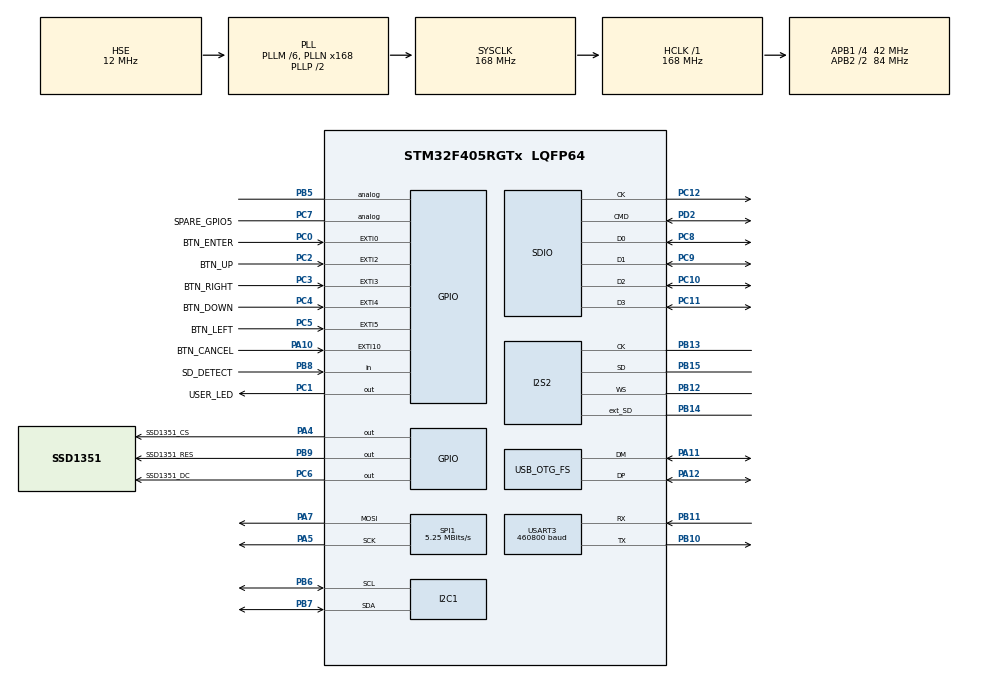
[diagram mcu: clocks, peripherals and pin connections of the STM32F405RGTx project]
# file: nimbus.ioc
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Dma.Request0=SPI2_TX
Dma.Request1=SPI1_TX
Dma.Request2=SDIO
Dma.Request3=USART3_TX
Dma.SDIO.2.Direction=DMA_PERIPH_TO_MEMORY
Dma.SDIO.2.FIFOMode=DMA_FIFOMODE_ENABLE
Dma.SDIO.2.FIFOThreshold=DMA_FIFO_THRESHOLD_FULL
Dma.SDIO.2.Instance=DMA2_Stream3
Dma.SDIO.2.MemBurst=DMA_MBURST_INC4
Dma.SDIO.2.MemDataAlignment=DMA_MDATAALIGN_WORD
Dma.SDIO.2.MemInc=DMA_MINC_ENABLE
Dma.SDIO.2.Mode=DMA_PFCTRL
Dma.SDIO.2.PeriphBurst=DMA_PBURST_INC4
Dma.SDIO.2.PeriphDataAlignment=DMA_PDATAALIGN_WORD
Dma.SDIO.2.PeriphInc=DMA_PINC_DISABLE
Dma.SDIO.2.Priority=DMA_PRIORITY_LOW
Dma.SPI1_TX.1.Direction=DMA_MEMORY_TO_PERIPH
Dma.SPI1_TX.1.FIFOMode=DMA_FIFOMODE_DISABLE
Dma.SPI1_TX.1.Instance=DMA2_Stream5
Dma.SPI1_TX.1.MemDataAlignment=DMA_MDATAALIGN_BYTE
Dma.SPI1_TX.1.MemInc=DMA_MINC_ENABLE
Dma.SPI1_TX.1.Mode=DMA_NORMAL
Dma.SPI1_TX.1.PeriphDataAlignment=DMA_PDATAALIGN_BYTE
Dma.SPI1_TX.1.PeriphInc=DMA_PINC_DISABLE
Dma.SPI1_TX.1.Priority=DMA_PRIORITY_LOW
Dma.SPI2_TX.0.Direction=DMA_MEMORY_TO_PERIPH
Dma.SPI2_TX.0.FIFOMode=DMA_FIFOMODE_DISABLE
Dma.SPI2_TX.0.Instance=DMA1_Stream4
Dma.SPI2_TX.0.MemDataAlignment=DMA_MDATAALIGN_WORD
Dma.SPI2_TX.0.MemInc=DMA_MINC_ENABLE
Dma.SPI2_TX.0.Mode=DMA_NORMAL
Dma.SPI2_TX.0.PeriphDataAlignment=DMA_PDATAALIGN_WORD
Dma.SPI2_TX.0.PeriphInc=DMA_PINC_DISABLE
Dma.SPI2_TX.0.Priority=DMA_PRIORITY_LOW
Dma.USART3_TX.3.Direction=DMA_MEMORY_TO_PERIPH
Dma.USART3_TX.3.FIFOMode=DMA_FIFOMODE_DISABLE
Dma.USART3_TX.3.Instance=DMA1_Stream3
Dma.USART3_TX.3.MemDataAlignment=DMA_MDATAALIGN_BYTE
Dma.USART3_TX.3.MemInc=DMA_MINC_ENABLE
Dma.USART3_TX.3.Mode=DMA_NORMAL
Dma.USART3_TX.3.PeriphDataAlignment=DMA_PDATAALIGN_BYTE
Dma.USART3_TX.3.PeriphInc=DMA_PINC_DISABLE
Dma.USART3_TX.3.Priority=DMA_PRIORITY_LOW
FATFS.BSP.number=1
FATFS.USE_DMA_CODE_SD=1
FATFS0.BSP.STBoard=false
FATFS0.BSP.api=Unknown
FATFS0.BSP.instance=PB8
FATFS0.BSP.ip=GPIO
FATFS0.BSP.mode=Input
FATFS0.BSP.name=Detect_SDIO
FATFS0.BSP.solution=PB8
I2S2.ErrorAudioFreq=0.15 %
I2S2.FullDuplexMode=I2S_FULLDUPLEXMODE_ENABLE
I2S2.Instance=SPI$Index
I2S2.RealAudioFreq=8.012 KHz
I2S2.VirtualMode=I2S_MODE_MASTER
Mcu.Family=STM32F4
Mcu.Name=STM32F405RGTx
Mcu.Package=LQFP64
NVIC.DMA1_Stream3_IRQn=true\:0\:0\:false\:false\:true\:false\:true\:true
NVIC.DMA1_Stream4_IRQn=true\:0\:0\:false\:false\:true\:false\:true\:true
NVIC.DMA2_Stream3_IRQn=true\:0\:0\:false\:false\:true\:false\:true\:true
NVIC.DMA2_Stream5_IRQn=true\:0\:0\:false\:false\:true\:false\:true\:true
NVIC.OTG_FS_IRQn=true\:0\:0\:false\:false\:true\:false\:true\:true
NVIC.PriorityGroup=NVIC_PRIORITYGROUP_4
NVIC.SDIO_IRQn=true\:0\:0\:false\:false\:true\:true\:true\:true
NVIC.USART3_IRQn=true\:0\:0\:false\:false\:true\:true\:true\:true
PA10.GPIO_Label=BTN_CANCEL
PA10.Signal=GPXTI10
PA11.Mode=Device_Only
PA11.Signal=USB_OTG_FS_DM
PA12.Mode=Device_Only
PA12.Signal=USB_OTG_FS_DP
PA4.GPIO_Label=SSD1351_CS
PA4.GPIO_Speed=GPIO_SPEED_FREQ_VERY_HIGH
PA4.PinState=GPIO_PIN_SET
PA4.Signal=GPIO_Output
PA5.Mode=TX_Only_Simplex_Unidirect_Master
PA5.Signal=SPI1_SCK
PA7.Mode=TX_Only_Simplex_Unidirect_Master
PA7.Signal=SPI1_MOSI
PB10.GPIO_PuPd=GPIO_PULLUP
PB10.Mode=Asynchronous
PB10.Signal=USART3_TX
PB11.Mode=Asynchronous
PB11.Signal=USART3_RX
PB12.Mode=Full_Duplex_Master
PB12.Signal=I2S2_WS
PB13.Mode=Full_Duplex_Master
PB13.Signal=I2S2_CK
PB14.Mode=Full_Duplex_Master
PB14.Signal=I2S2_ext_SD
PB15.Mode=Full_Duplex_Master
PB15.Signal=I2S2_SD
PB5.Signal=GPIO_Analog
PB6.Mode=I2C
PB6.Signal=I2C1_SCL
PB7.Mode=I2C
PB7.Signal=I2C1_SDA
PB8.GPIO_Label=SD_DETECT
PB8.Signal=GPIO_Input
PB9.GPIO_Label=SSD1351_RES
PB9.Signal=GPIO_Output
PC0.GPIO_Label=BTN_ENTER
PC0.Signal=GPXTI0
PC1.GPIO_Label=USER_LED
PC1.GPIO_ModeDefaultOutputPP=GPIO_MODE_OUTPUT_PP
PC1.GPIO_Speed=GPIO_SPEED_FREQ_LOW
PC1.PinState=GPIO_PIN_RESET
PC1.Signal=GPIO_Output
PC10.GPIO_PuPd=GPIO_PULLUP
PC10.Mode=SD_4_bits_Wide_bus
PC10.Signal=SDIO_D2
PC11.GPIO_PuPd=GPIO_PULLUP
PC11.Mode=SD_4_bits_Wide_bus
PC11.Signal=SDIO_D3
PC12.GPIO_PuPd=GPIO_NOPULL
PC12.Mode=SD_4_bits_Wide_bus
PC12.Signal=SDIO_CK
PC14-OSC32_IN.Mode=LSE-External-Oscillator
PC14-OSC32_IN.Signal=RCC_OSC32_IN
PC15-OSC32_OUT.Mode=LSE-External-Oscillator
PC15-OSC32_OUT.Signal=RCC_OSC32_OUT
PC2.GPIO_Label=BTN_UP
PC2.Signal=GPXTI2
PC3.GPIO_Label=BTN_RIGHT
PC3.Signal=GPXTI3
PC4.GPIO_Label=BTN_DOWN
PC4.Signal=GPXTI4
PC5.GPIO_Label=BTN_LEFT
PC5.Signal=GPXTI5
PC6.GPIO_Label=SSD1351_DC
PC6.GPIO_Speed=GPIO_SPEED_FREQ_VERY_HIGH
PC6.Signal=GPIO_Output
PC7.GPIO_Label=SPARE_GPIO5
PC7.Signal=GPIO_Analog
PC8.GPIO_PuPd=GPIO_PULLUP
PC8.Mode=SD_4_bits_Wide_bus
PC8.Signal=SDIO_D0
PC9.GPIO_PuPd=GPIO_PULLUP
PC9.Mode=SD_4_bits_Wide_bus
PC9.Signal=SDIO_D1
PD2.GPIO_PuPd=GPIO_NOPULL
PD2.Mode=SD_4_bits_Wide_bus
PD2.Signal=SDIO_CMD
PH0-OSC_IN.Mode=HSE-External-Oscillator
PH0-OSC_IN.Signal=RCC_OSC_IN
PH1-OSC_OUT.Mode=HSE-External-Oscillator
PH1-OSC_OUT.Signal=RCC_OSC_OUT
ProjectManager.HeapSize=0x200
ProjectManager.StackSize=0x400
ProjectManager.TargetToolchain=STM32CubeIDE
RCC.48MHZClocksFreq_Value=48000000
RCC.AHBFreq_Value=168000000
RCC.APB1CLKDivider=RCC_HCLK_DIV4
RCC.APB1Freq_Value=42000000
RCC.APB1TimFreq_Value=84000000
RCC.APB2CLKDivider=RCC_HCLK_DIV2
RCC.APB2Freq_Value=84000000
RCC.APB2TimFreq_Value=168000000
RCC.CortexFreq_Value=168000000
RCC.HCLKFreq_Value=168000000
RCC.HSE_VALUE=12000000
RCC.HSI_VALUE=16000000
RCC.PLLI2SN=50
RCC.PLLM=6
RCC.PLLN=168
RCC.PLLQ=7
RCC.SYSCLKFreq_VALUE=168000000
RCC.SYSCLKSource=RCC_SYSCLKSOURCE_PLLCLK
RCC.VCOOutputFreq_Value=336000000
SDIO.ClockDiv=4
SDIO.ClockEdge=SDIO_CLOCK_EDGE_RISING
SPI1.BaudRatePrescaler=SPI_BAUDRATEPRESCALER_16
SPI1.CLKPhase=SPI_PHASE_2EDGE
SPI1.CLKPolarity=SPI_POLARITY_HIGH
SPI1.CalculateBaudRate=5.25 MBits/s
SPI1.Direction=SPI_DIRECTION_2LINES
SPI1.Mode=SPI_MODE_MASTER
SPI1.VirtualType=VM_MASTER
USART3.BaudRate=460800
USART3.Mode=MODE_TX
USART3.VirtualMode=VM_ASYNC
USB_DEVICE.CLASS_NAME_FS=MSC
USB_DEVICE.USBD_SELF_POWERED-MSC_FS=0
USB_DEVICE.VirtualMode-MSC_FS=Msc
USB_DEVICE.VirtualModeFS=Msc_FS
USB_OTG_FS.VirtualMode=Device_Only
VP_FATFS_VS_SDIO.Mode=SDIO
VP_USB_DEVICE_VS_USB_DEVICE_MSC_FS.Mode=MSC_FS
board=custom

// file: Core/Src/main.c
/* USER CODE BEGIN Header */
/**
  ******************************************************************************
  * @file           : main.c
  * @brief          : Main program body
  ******************************************************************************
  * @attention
  *
  * Copyright (c) 2023 STMicroelectronics.
  * All rights reserved.
  *
  * This software is licensed under terms that can be found in the LICENSE file
  * in the root directory of this software component.
  * If no LICENSE file comes with this software, it is provided AS-IS.
  *
  ******************************************************************************
  */
/* USER CODE END Header */
#include "main.h"
#include "dma.h"
#include "fatfs.h"
#include "i2c.h"
#include "i2s.h"
#include "sdio.h"
#include "spi.h"
#include "usart.h"
#include "usb_device.h"
#include "gpio.h"

/* USER CODE BEGIN Includes */
#include <stdint.h>
#include <stdbool.h>

#include "features.h"
#include "drv_vcp.h"
#include "tk_shell.h"
#include "tmr.h"
#include "nv.h"

#ifdef FEATURE_OLED
#include "oled_manager.h"
#endif // FEATURE_OLED
/* USER CODE END Includes */

void SystemClock_Config(void);

int main(void)
{

  /* MCU Configuration--------------------------------------------------------*/

  /* Reset of all peripherals, Initializes the Flash interface and the Systick. */
  HAL_Init();

  /* Configure the system clock */
  SystemClock_Config();

  /* USER CODE BEGIN SysInit */
  VCP_Init(); // dependent on MX_USB_DEVICE_Init()
  NV_Init();
  tmrInit();
  /* USER CODE END SysInit */

  /* Initialize all configured peripherals */
  MX_GPIO_Init();
  MX_DMA_Init();
  MX_SDIO_SD_Init();
  MX_I2S2_Init();
  MX_I2C1_Init();
  MX_USB_DEVICE_Init();
  MX_SPI1_Init();
  MX_FATFS_Init();
  MX_USART3_UART_Init();
  /* USER CODE BEGIN 2 */
  TkShellInit();
  usb_device_init();

  LOG(APP, INFO, "Nimbus init complete!");

  #ifdef FEATURE_OLED
  OLED_Init();
  #endif // FEATURE_OLED
  /* USER CODE END 2 */

  /* Infinite loop */
  /* USER CODE BEGIN WHILE */
  while (1)
  {
    // TODO: Audio playback

    #ifdef FEATURE_OLED
    // Display
    OLED_Service();
    #endif // FEATURE_OLED

    // TODO: Button handling

    TkShellService();
    /* USER CODE END WHILE */

    /* USER CODE BEGIN 3 */
    VCP_Flush();
  }
  /* USER CODE END 3 */
}

void SystemClock_Config(void)
{
  RCC_OscInitTypeDef RCC_OscInitStruct = {0};
  RCC_ClkInitTypeDef RCC_ClkInitStruct = {0};

  /** Configure the main internal regulator output voltage
  */
  __HAL_RCC_PWR_CLK_ENABLE();
  __HAL_PWR_VOLTAGESCALING_CONFIG(PWR_REGULATOR_VOLTAGE_SCALE1);

  /** Initializes the RCC Oscillators according to the specified parameters
  * in the RCC_OscInitTypeDef structure.
  */
  RCC_OscInitStruct.OscillatorType = RCC_OSCILLATORTYPE_HSE;
  RCC_OscInitStruct.HSEState = RCC_HSE_ON;
  RCC_OscInitStruct.PLL.PLLState = RCC_PLL_ON;
  RCC_OscInitStruct.PLL.PLLSource = RCC_PLLSOURCE_HSE;
  RCC_OscInitStruct.PLL.PLLM = 6;
  RCC_OscInitStruct.PLL.PLLN = 168;
  RCC_OscInitStruct.PLL.PLLP = RCC_PLLP_DIV2;
  RCC_OscInitStruct.PLL.PLLQ = 7;
  if (HAL_RCC_OscConfig(&RCC_OscInitStruct) != HAL_OK)
  {
    Error_Handler();
  }

  /** Initializes the CPU, AHB and APB buses clocks
  */
  RCC_ClkInitStruct.ClockType = RCC_CLOCKTYPE_HCLK|RCC_CLOCKTYPE_SYSCLK
                              |RCC_CLOCKTYPE_PCLK1|RCC_CLOCKTYPE_PCLK2;
  RCC_ClkInitStruct.SYSCLKSource = RCC_SYSCLKSOURCE_PLLCLK;
  RCC_ClkInitStruct.AHBCLKDivider = RCC_SYSCLK_DIV1;
  RCC_ClkInitStruct.APB1CLKDivider = RCC_HCLK_DIV4;
  RCC_ClkInitStruct.APB2CLKDivider = RCC_HCLK_DIV2;

  if (HAL_RCC_ClockConfig(&RCC_ClkInitStruct, FLASH_LATENCY_5) != HAL_OK)
  {
    Error_Handler();
  }
}

/* USER CODE BEGIN 4 */
static void blinkLED(int num_of_times)
{
  for (int i = 0; i < num_of_times; i++)
  {
    HAL_GPIO_WritePin(USER_LED_GPIO_Port, USER_LED_Pin, GPIO_PIN_SET);
    tmrSwDelay_us(100000);
    HAL_GPIO_WritePin(USER_LED_GPIO_Port, USER_LED_Pin, GPIO_PIN_RESET);
    tmrSwDelay_us(100000);
  }
}

void Custom_Error_Handler(int blinks)
{
  __disable_irq();
  while (1)
  {
    blinkLED(blinks);

    tmrSwDelay_us(1000000);
  }
}
/* USER CODE END 4 */

void Error_Handler(void)
{
  /* USER CODE BEGIN Error_Handler_Debug */
  /* User can add his own implementation to report the HAL error return state */
  __disable_irq();
  while (1)
  {
    blinkLED(1);

    tmrSwDelay_us(1000000);
  }
  /* USER CODE END Error_Handler_Debug */
}
